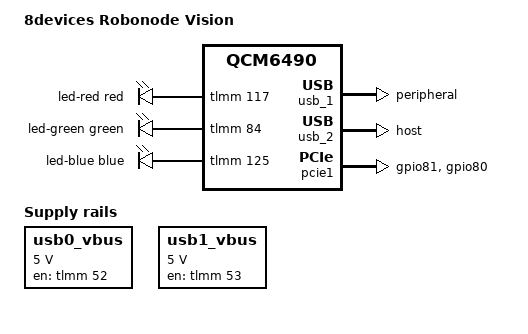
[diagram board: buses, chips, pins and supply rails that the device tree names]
// SPDX-License-Identifier: BSD-3-Clause

/dts-v1/;

#include "qcs6490-citron-som.dtsi"
#include "qcs6490-citron-common.dtsi"
#include <dt-bindings/leds/common.h>

/ {
	model = "8devices Robonode Vision";
	compatible = "8devices,robovision", "8devices,citron",
		"qcom,qcm6490";

	/*
	 * Cell 0 <unused:8 major:8 minor:8 platform_type:8>, cell 1 <ddr_class:3
	 * subtype:8>. The DDR class is mandatory: UEFI compares it for equality, and
	 * with no match it falls back to its built-in RB3gen2 tree, which has no eMMC
	 * node, so the rootfs never appears. Must agree with the flashed CDT, and a
	 * board with different DRAM needs a different value.
	 */
	qcom,board-id = <0x00010020 0x642>;

	/* Common-anode LED, cathodes low-side switched by N-FETs, hence active-HIGH. */
	leds {
		compatible = "gpio-leds";
		pinctrl-names = "default";
		pinctrl-0 = <&rgb_led_state>;

		led-red {
			gpios = <&tlmm 117 GPIO_ACTIVE_HIGH>;
			color = <LED_COLOR_ID_RED>;
			function = LED_FUNCTION_INDICATOR;
			default-state = "off";
		};

		led-green {
			gpios = <&tlmm 84 GPIO_ACTIVE_HIGH>;
			color = <LED_COLOR_ID_GREEN>;
			function = LED_FUNCTION_INDICATOR;
			default-state = "off";
		};

		led-blue {
			gpios = <&tlmm 125 GPIO_ACTIVE_HIGH>;
			color = <LED_COLOR_ID_BLUE>;
			function = LED_FUNCTION_INDICATOR;
			default-state = "off";
		};
	};
};

/*
 * Roles are FIXED, not OTG: no USB_ID/CC path reaches the SoC. USB0 stays a device
 * to match the bootrom EDL/fastboot path, USB1 a host with +5V always on.
 */
&usb_1 {
	dr_mode = "peripheral";
};

/*
 * USB1 is HS-only host. The stock usb-role-switch targets the disabled EUD, so drop
 * it; the port node stays because eud_ep references it by phandle.
 */
&usb_2 {
	dr_mode = "host";
	/delete-property/ usb-role-switch;
	status = "okay";
};

/* UCS2113 load-switch enables; the regulators below hold USB0 off and USB1 on. */
&tlmm {
	usb0_vbus_en_state: usb0-vbus-en-state {
		pins = "gpio52";
		function = "gpio";
		drive-strength = <2>;
		bias-disable;
	};

	usb1_vbus_en_state: usb1-vbus-en-state {
		pins = "gpio53";
		function = "gpio";
		drive-strength = <2>;
		bias-disable;
	};
};

/ {
	usb0_vbus: regulator-usb0-vbus {
		compatible = "regulator-fixed";
		regulator-name = "USB0_VBUS";
		regulator-min-microvolt = <5000000>;
		regulator-max-microvolt = <5000000>;
		gpio = <&tlmm 52 GPIO_ACTIVE_HIGH>;
		enable-active-high;
		pinctrl-names = "default";
		pinctrl-0 = <&usb0_vbus_en_state>;
	};

	usb1_vbus: regulator-usb1-vbus {
		compatible = "regulator-fixed";
		regulator-name = "USB1_VBUS";
		regulator-min-microvolt = <5000000>;
		regulator-max-microvolt = <5000000>;
		gpio = <&tlmm 53 GPIO_ACTIVE_HIGH>;
		enable-active-high;
		regulator-always-on;
		regulator-boot-on;
		pinctrl-names = "default";
		pinctrl-0 = <&usb1_vbus_en_state>;
	};
};

&tlmm {
	eeprom_wc_state: eeprom-wc-state {
		pins = "gpio46";
		function = "gpio";
		bias-disable;
	};
};

/*
 * PCIe1 (x2) -> on-carrier QCN9274 Wi-Fi. Rails are hardware-sequenced and the
 * refclk is internal, so no regulator/clock/endpoint node is needed.
 */
&tlmm {
	pcie1_reset_n: pcie1-reset-n-state {
		pins = "gpio81";
		function = "gpio";
		drive-strength = <16>;
		output-low;
		bias-disable;
	};

	pcie1_wake_n: pcie1-wake-n-state {
		pins = "gpio80";
		function = "gpio";
		drive-strength = <2>;
		bias-pull-up;
	};
};

&pcie1 {
	perst-gpios = <&tlmm 81 GPIO_ACTIVE_LOW>;
	wake-gpios = <&tlmm 80 GPIO_ACTIVE_HIGH>;
	pinctrl-names = "default";
	pinctrl-0 = <&pcie1_reset_n>, <&pcie1_wake_n>, <&pcie1_clkreq_n>;
	status = "okay";
};

/*
 * PCIe0 (x1) -> PI7C9X2G304EV switch -> 2x RTL8111K. No WAKE: the downstream WAKE#
 * nets are per-NIC PME, not the link wake.
 */
&tlmm {
	pcie0_reset_n: pcie0-reset-n-state {
		pins = "gpio86";
		function = "gpio";
		drive-strength = <16>;
		output-low;
		bias-disable;
	};
};

/* Camera comes from a CAMERA_STACK overlay, which also enables camcc. */

&tlmm {
	disp0_ctrl_state: disp0-ctrl-state {
		pins = "gpio61", "gpio39";
		function = "gpio";
		drive-strength = <2>;
		bias-disable;
		output-high;
	};

	/* Nothing references these two; they just park the remaining DISP0 pins. */
	disp0_misc_state: disp0-misc-state {
		pins = "gpio96", "gpio38";
		function = "gpio";
		drive-strength = <2>;
		bias-disable;
	};

	disp0_status_state: disp0-status-state {
		pins = "gpio105", "gpio36";
		function = "gpio";
		bias-pull-up;
	};

	rgb_led_state: rgb-led-state {
		pins = "gpio117", "gpio84", "gpio125";
		function = "gpio";
		drive-strength = <2>;
		bias-disable;
	};
};
